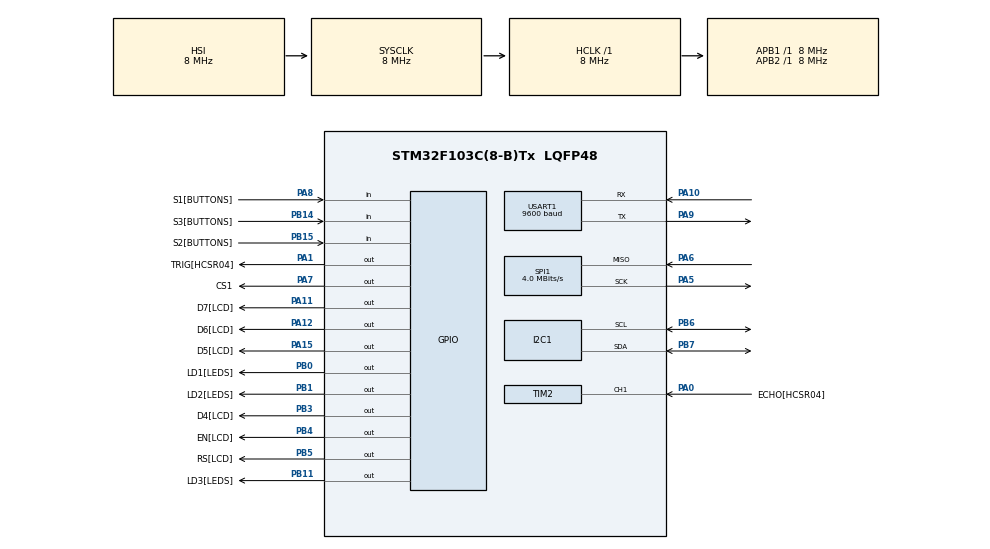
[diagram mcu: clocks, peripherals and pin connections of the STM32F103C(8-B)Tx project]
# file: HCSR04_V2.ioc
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I2C1.I2C_Mode=I2C_Standard
Mcu.Family=STM32F1
Mcu.Name=STM32F103C(8-B)Tx
Mcu.Package=LQFP48
NVIC.PriorityGroup=NVIC_PRIORITYGROUP_4
NVIC.TIM2_IRQn=true\:0\:0\:false\:false\:true\:true
PA0-WKUP.GPIO_Label=ECHO[HCSR04]
PA0-WKUP.Signal=S_TIM2_CH1_ETR
PA1.GPIO_Label=TRIG[HCSR04]
PA1.Signal=GPIO_Output
PA10.Mode=Asynchronous
PA10.Signal=USART1_RX
PA11.GPIO_Label=D7[LCD]
PA11.Signal=GPIO_Output
PA12.GPIO_Label=D6[LCD]
PA12.Signal=GPIO_Output
PA13.Mode=Serial_Wire
PA13.Signal=SYS_JTMS-SWDIO
PA14.Mode=Serial_Wire
PA14.Signal=SYS_JTCK-SWCLK
PA15.GPIO_Label=D5[LCD]
PA15.Signal=GPIO_Output
PA5.Mode=RX_Only_Simplex_Unidirect_Master
PA5.Signal=SPI1_SCK
PA6.Mode=RX_Only_Simplex_Unidirect_Master
PA6.Signal=SPI1_MISO
PA7.GPIO_Label=CS1
PA7.Signal=GPIO_Output
PA8.GPIO_Label=S1[BUTTONS]
PA8.Signal=GPIO_Input
PA9.Mode=Asynchronous
PA9.Signal=USART1_TX
PB0.GPIO_Label=LD1[LEDS]
PB0.Signal=GPIO_Output
PB1.GPIO_Label=LD2[LEDS]
PB1.Signal=GPIO_Output
PB11.GPIO_Label=LD3[LEDS]
PB11.Signal=GPIO_Output
PB14.GPIO_Label=S3[BUTTONS]
PB14.Signal=GPIO_Input
PB15.GPIO_Label=S2[BUTTONS]
PB15.Signal=GPIO_Input
PB3.GPIO_Label=D4[LCD]
PB3.Signal=GPIO_Output
PB4.GPIO_Label=EN[LCD]
PB4.Signal=GPIO_Output
PB5.GPIO_Label=RS[LCD]
PB5.Signal=GPIO_Output
PB6.Mode=I2C
PB6.Signal=I2C1_SCL
PB7.Mode=I2C
PB7.Signal=I2C1_SDA
ProjectManager.HeapSize=0x200
ProjectManager.StackSize=0x400
ProjectManager.TargetToolchain=TrueSTUDIO
RCC.AHBFreq_Value=8000000
RCC.APB1Freq_Value=8000000
RCC.APB1TimFreq_Value=8000000
RCC.APB2Freq_Value=8000000
RCC.APB2TimFreq_Value=8000000
RCC.HCLKFreq_Value=8000000
RCC.SYSCLKFreq_VALUE=8000000
RCC.USBFreq_Value=8000000
SH.S_TIM2_CH1_ETR.0=TIM2_CH1,Input_Capture1_from_TI1
SPI1.BaudRatePrescaler=SPI_BAUDRATEPRESCALER_2
SPI1.CLKPhase=SPI_PHASE_1EDGE
SPI1.CLKPolarity=SPI_POLARITY_LOW
SPI1.CalculateBaudRate=4.0 MBits/s
SPI1.DataSize=SPI_DATASIZE_8BIT
SPI1.Direction=SPI_DIRECTION_2LINES_RXONLY
SPI1.Mode=SPI_MODE_MASTER
SPI1.VirtualType=VM_MASTER
TIM2.Channel-Input_Capture1_from_TI1=TIM_CHANNEL_1
TIM2.ICFilter_CH1=15
TIM2.Period=50000
TIM2.Prescaler=7
USART1.BaudRate=9600
USART1.VirtualMode=VM_ASYNC
VP_TIM2_VS_ClockSourceINT.Mode=Internal
board=HCSR04_V2

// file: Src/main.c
/**
  ******************************************************************************
  * @file           : main.c
  * @brief          : Main program body
  ******************************************************************************
  ** This notice applies to any and all portions of this file
  * that are not between comment pairs USER CODE BEGIN and
  * USER CODE END. Other portions of this file, whether
  * inserted by the user or by software development tools
  * are owned by their respective copyright owners.
  *
  * COPYRIGHT(c) 2018 STMicroelectronics
  *
  * Redistribution and use in source and binary forms, with or without modification,
  * are permitted provided that the following conditions are met:
  *   1. Redistributions of source code must retain the above copyright notice,
  *      this list of conditions and the following disclaimer.
  *   2. Redistributions in binary form must reproduce the above copyright notice,
  *      this list of conditions and the following disclaimer in the documentation
  *      and/or other materials provided with the distribution.
  *   3. Neither the name of STMicroelectronics nor the names of its contributors
  *      may be used to endorse or promote products derived from this software
  *      without specific prior written permission.
  *
  * THIS SOFTWARE IS PROVIDED BY THE COPYRIGHT HOLDERS AND CONTRIBUTORS "AS IS"
  * AND ANY EXPRESS OR IMPLIED WARRANTIES, INCLUDING, BUT NOT LIMITED TO, THE
  * IMPLIED WARRANTIES OF MERCHANTABILITY AND FITNESS FOR A PARTICULAR PURPOSE ARE
  * DISCLAIMED. IN NO EVENT SHALL THE COPYRIGHT HOLDER OR CONTRIBUTORS BE LIABLE
  * FOR ANY DIRECT, INDIRECT, INCIDENTAL, SPECIAL, EXEMPLARY, OR CONSEQUENTIAL
  * DAMAGES (INCLUDING, BUT NOT LIMITED TO, PROCUREMENT OF SUBSTITUTE GOODS OR
  * SERVICES; LOSS OF USE, DATA, OR PROFITS; OR BUSINESS INTERRUPTION) HOWEVER
  * CAUSED AND ON ANY THEORY OF LIABILITY, WHETHER IN CONTRACT, STRICT LIABILITY,
  * OR TORT (INCLUDING NEGLIGENCE OR OTHERWISE) ARISING IN ANY WAY OUT OF THE USE
  * OF THIS SOFTWARE, EVEN IF ADVISED OF THE POSSIBILITY OF SUCH DAMAGE.
  *
  ******************************************************************************
  */
#include "main.h"
#include "stm32f1xx_hal.h"

/* USER CODE BEGIN Includes */

#include "dwt_stm32_delay.h"
#include <stdio.h>
#include <stdlib.h>

/* USER CODE END Includes */

I2C_HandleTypeDef hi2c1;

SPI_HandleTypeDef hspi1;

TIM_HandleTypeDef htim2;

UART_HandleTypeDef huart1;

/* USER CODE BEGIN PV */
/* Private variables ---------------------------------------------------------*/

uint16_t time=0,count=0,input_capture=0;

long counter=0,ic_value=0;
float dist=0.1;

char buffer[10];

/* USER CODE END PV */

void SystemClock_Config(void);
static void MX_GPIO_Init(void);
static void MX_I2C1_Init(void);
static void MX_SPI1_Init(void);
static void MX_USART1_UART_Init(void);
static void MX_TIM2_Init(void);

/* USER CODE BEGIN PFP */
/* Private function prototypes -----------------------------------------------*/

/* USER CODE END PFP */

/* USER CODE BEGIN 0 */

void write_lcd (uint8_t data, uint8_t cmd_data)
{
	// identifica comando ou dado
	if (cmd_data) HAL_GPIO_WritePin(RS_GPIO_Port, RS_Pin, GPIO_PIN_SET);
	else 					HAL_GPIO_WritePin(RS_GPIO_Port, RS_Pin, GPIO_PIN_RESET);

	// 4 bits high
	if (data & 0x80) HAL_GPIO_WritePin (D7_GPIO_Port, D7_Pin, GPIO_PIN_SET);
	else						 HAL_GPIO_WritePin (D7_GPIO_Port, D7_Pin, GPIO_PIN_RESET);
	if (data & 0x40) HAL_GPIO_WritePin (D6_GPIO_Port, D6_Pin, GPIO_PIN_SET);
	else						 HAL_GPIO_WritePin (D6_GPIO_Port, D6_Pin, GPIO_PIN_RESET);
	if (data & 0x20) HAL_GPIO_WritePin (D5_GPIO_Port, D5_Pin, GPIO_PIN_SET);
	else						 HAL_GPIO_WritePin (D5_GPIO_Port, D5_Pin, GPIO_PIN_RESET);
	if (data & 0x10) HAL_GPIO_WritePin (D4_GPIO_Port, D4_Pin, GPIO_PIN_SET);
	else						 HAL_GPIO_WritePin (D4_GPIO_Port, D4_Pin, GPIO_PIN_RESET);

	HAL_GPIO_WritePin(EN_GPIO_Port, EN_Pin, GPIO_PIN_SET);
	HAL_Delay(2);
	HAL_GPIO_WritePin(EN_GPIO_Port, EN_Pin, GPIO_PIN_RESET);

	// 4 bits Low
	if (data & 0x08) HAL_GPIO_WritePin (D7_GPIO_Port, D7_Pin, GPIO_PIN_SET);
	else						 HAL_GPIO_WritePin (D7_GPIO_Port, D7_Pin, GPIO_PIN_RESET);
	if (data & 0x04) HAL_GPIO_WritePin (D6_GPIO_Port, D6_Pin, GPIO_PIN_SET);
	else						 HAL_GPIO_WritePin (D6_GPIO_Port, D6_Pin, GPIO_PIN_RESET);
	if (data & 0x02) HAL_GPIO_WritePin (D5_GPIO_Port, D5_Pin, GPIO_PIN_SET);
	else						 HAL_GPIO_WritePin (D5_GPIO_Port, D5_Pin, GPIO_PIN_RESET);
	if (data & 0x01) HAL_GPIO_WritePin (D4_GPIO_Port, D4_Pin, GPIO_PIN_SET);
	else						 HAL_GPIO_WritePin (D4_GPIO_Port, D4_Pin, GPIO_PIN_RESET);

	HAL_GPIO_WritePin(EN_GPIO_Port, EN_Pin, GPIO_PIN_SET);
	HAL_Delay(2);
	HAL_GPIO_WritePin(EN_GPIO_Port, EN_Pin, GPIO_PIN_RESET);
}

/* init_LCD - Inicializa o display em 4bits */
void init_lcd(void)
{
	write_lcd(0x33, 0);
	write_lcd(0x32, 0);
	write_lcd(0x28, 0);
	write_lcd(0x06, 0);
	write_lcd(0x0C, 0);
	write_lcd(0x01, 0);
}

/* string_lcd - escreve string no LCD */
void string_lcd (char *string)
{
	while(*string) write_lcd(*string++, 1);
}

/* USER CODE END 0 */

int main(void)
{

  /* MCU Configuration----------------------------------------------------------*/

  /* Reset of all peripherals, Initializes the Flash interface and the Systick. */
  HAL_Init();

  /* Configure the system clock */
  SystemClock_Config();

  /* Initialize all configured peripherals */
  MX_GPIO_Init();
  MX_I2C1_Init();
  MX_SPI1_Init();
  MX_USART1_UART_Init();
  MX_TIM2_Init();
  /* USER CODE BEGIN 2 */

  init_lcd();
  write_lcd(0x01,0);
  write_lcd(0x81,0);
  string_lcd("Developed by :");
  write_lcd(0xC2,0);
  string_lcd("DSF DIVISION");
  HAL_Delay(2000);
  write_lcd(0x01,0);
  write_lcd(0x80,0);
  string_lcd("Distance:");
  write_lcd(0xC0,0);
  sprintf(buffer,"%2.1f",dist);
  string_lcd(buffer);
  HAL_TIM_IC_Start_IT(&htim2, TIM_CHANNEL_1);

  /* USER CODE END 2 */

  /* Infinite loop */
  while (1)
  {

  /* USER CODE BEGIN 3 */

	  HAL_GPIO_WritePin(TRIG_GPIO_Port,TRIG_Pin,GPIO_PIN_SET);
	  DWT_Delay_us(2);
	  HAL_GPIO_WritePin(TRIG_GPIO_Port,TRIG_Pin,GPIO_PIN_RESET);
	  DWT_Delay_us(11);
	  HAL_GPIO_WritePin(TRIG_GPIO_Port,TRIG_Pin,GPIO_PIN_SET);
	  counter=__HAL_TIM_GET_COUNTER(&htim2);
	  dist=counter*0.175/2;
	  write_lcd(0xC0,0);
	  sprintf(buffer,"%2.1f",dist);
	  string_lcd(buffer);
	  HAL_Delay(300);

  }
  /* USER CODE END 3 */

}

void SystemClock_Config(void)
{

  RCC_OscInitTypeDef RCC_OscInitStruct;
  RCC_ClkInitTypeDef RCC_ClkInitStruct;

    /**Initializes the CPU, AHB and APB busses clocks
    */
  RCC_OscInitStruct.OscillatorType = RCC_OSCILLATORTYPE_HSI;
  RCC_OscInitStruct.HSIState = RCC_HSI_ON;
  RCC_OscInitStruct.HSICalibrationValue = 16;
  RCC_OscInitStruct.PLL.PLLState = RCC_PLL_NONE;
  if (HAL_RCC_OscConfig(&RCC_OscInitStruct) != HAL_OK)
  {
    _Error_Handler(__FILE__, __LINE__);
  }

    /**Initializes the CPU, AHB and APB busses clocks
    */
  RCC_ClkInitStruct.ClockType = RCC_CLOCKTYPE_HCLK|RCC_CLOCKTYPE_SYSCLK
                              |RCC_CLOCKTYPE_PCLK1|RCC_CLOCKTYPE_PCLK2;
  RCC_ClkInitStruct.SYSCLKSource = RCC_SYSCLKSOURCE_HSI;
  RCC_ClkInitStruct.AHBCLKDivider = RCC_SYSCLK_DIV1;
  RCC_ClkInitStruct.APB1CLKDivider = RCC_HCLK_DIV1;
  RCC_ClkInitStruct.APB2CLKDivider = RCC_HCLK_DIV1;

  if (HAL_RCC_ClockConfig(&RCC_ClkInitStruct, FLASH_LATENCY_0) != HAL_OK)
  {
    _Error_Handler(__FILE__, __LINE__);
  }

    /**Configure the Systick interrupt time
    */
  HAL_SYSTICK_Config(HAL_RCC_GetHCLKFreq()/1000);

    /**Configure the Systick
    */
  HAL_SYSTICK_CLKSourceConfig(SYSTICK_CLKSOURCE_HCLK);

  /* SysTick_IRQn interrupt configuration */
  HAL_NVIC_SetPriority(SysTick_IRQn, 0, 0);
}

/* I2C1 init function */
static void MX_I2C1_Init(void)
{

  hi2c1.Instance = I2C1;
  hi2c1.Init.ClockSpeed = 100000;
  hi2c1.Init.DutyCycle = I2C_DUTYCYCLE_2;
  hi2c1.Init.OwnAddress1 = 0;
  hi2c1.Init.AddressingMode = I2C_ADDRESSINGMODE_7BIT;
  hi2c1.Init.DualAddressMode = I2C_DUALADDRESS_DISABLE;
  hi2c1.Init.OwnAddress2 = 0;
  hi2c1.Init.GeneralCallMode = I2C_GENERALCALL_DISABLE;
  hi2c1.Init.NoStretchMode = I2C_NOSTRETCH_DISABLE;
  if (HAL_I2C_Init(&hi2c1) != HAL_OK)
  {
    _Error_Handler(__FILE__, __LINE__);
  }

}

/* SPI1 init function */
static void MX_SPI1_Init(void)
{

  /* SPI1 parameter configuration*/
  hspi1.Instance = SPI1;
  hspi1.Init.Mode = SPI_MODE_MASTER;
  hspi1.Init.Direction = SPI_DIRECTION_2LINES_RXONLY;
  hspi1.Init.DataSize = SPI_DATASIZE_8BIT;
  hspi1.Init.CLKPolarity = SPI_POLARITY_LOW;
  hspi1.Init.CLKPhase = SPI_PHASE_1EDGE;
  hspi1.Init.NSS = SPI_NSS_SOFT;
  hspi1.Init.BaudRatePrescaler = SPI_BAUDRATEPRESCALER_2;
  hspi1.Init.FirstBit = SPI_FIRSTBIT_MSB;
  hspi1.Init.TIMode = SPI_TIMODE_DISABLE;
  hspi1.Init.CRCCalculation = SPI_CRCCALCULATION_DISABLE;
  hspi1.Init.CRCPolynomial = 10;
  if (HAL_SPI_Init(&hspi1) != HAL_OK)
  {
    _Error_Handler(__FILE__, __LINE__);
  }

}

/* TIM2 init function */
static void MX_TIM2_Init(void)
{

  TIM_ClockConfigTypeDef sClockSourceConfig;
  TIM_MasterConfigTypeDef sMasterConfig;
  TIM_IC_InitTypeDef sConfigIC;

  htim2.Instance = TIM2;
  htim2.Init.Prescaler = 7;
  htim2.Init.CounterMode = TIM_COUNTERMODE_UP;
  htim2.Init.Period = 50000;
  htim2.Init.ClockDivision = TIM_CLOCKDIVISION_DIV1;
  htim2.Init.AutoReloadPreload = TIM_AUTORELOAD_PRELOAD_DISABLE;
  if (HAL_TIM_Base_Init(&htim2) != HAL_OK)
  {
    _Error_Handler(__FILE__, __LINE__);
  }

  sClockSourceConfig.ClockSource = TIM_CLOCKSOURCE_INTERNAL;
  if (HAL_TIM_ConfigClockSource(&htim2, &sClockSourceConfig) != HAL_OK)
  {
    _Error_Handler(__FILE__, __LINE__);
  }

  if (HAL_TIM_IC_Init(&htim2) != HAL_OK)
  {
    _Error_Handler(__FILE__, __LINE__);
  }

  sMasterConfig.MasterOutputTrigger = TIM_TRGO_RESET;
  sMasterConfig.MasterSlaveMode = TIM_MASTERSLAVEMODE_DISABLE;
  if (HAL_TIMEx_MasterConfigSynchronization(&htim2, &sMasterConfig) != HAL_OK)
  {
    _Error_Handler(__FILE__, __LINE__);
  }

  sConfigIC.ICPolarity = TIM_INPUTCHANNELPOLARITY_RISING;
  sConfigIC.ICSelection = TIM_ICSELECTION_DIRECTTI;
  sConfigIC.ICPrescaler = TIM_ICPSC_DIV1;
  sConfigIC.ICFilter = 15;
  if (HAL_TIM_IC_ConfigChannel(&htim2, &sConfigIC, TIM_CHANNEL_1) != HAL_OK)
  {
    _Error_Handler(__FILE__, __LINE__);
  }

}

/* USART1 init function */
static void MX_USART1_UART_Init(void)
{

  huart1.Instance = USART1;
  huart1.Init.BaudRate = 9600;
  huart1.Init.WordLength = UART_WORDLENGTH_8B;
  huart1.Init.StopBits = UART_STOPBITS_1;
  huart1.Init.Parity = UART_PARITY_NONE;
  huart1.Init.Mode = UART_MODE_TX_RX;
  huart1.Init.HwFlowCtl = UART_HWCONTROL_NONE;
  huart1.Init.OverSampling = UART_OVERSAMPLING_16;
  if (HAL_UART_Init(&huart1) != HAL_OK)
  {
    _Error_Handler(__FILE__, __LINE__);
  }

}

/** Configure pins as
        * Analog
        * Input
        * Output
        * EVENT_OUT
        * EXTI
*/
static void MX_GPIO_Init(void)
{

  GPIO_InitTypeDef GPIO_InitStruct;

  /* GPIO Ports Clock Enable */
  __HAL_RCC_GPIOA_CLK_ENABLE();
  __HAL_RCC_GPIOB_CLK_ENABLE();

  /*Configure GPIO pin Output Level */
  HAL_GPIO_WritePin(GPIOA, TRIG_Pin|CS1_Pin|D7_Pin|D6_Pin
                          |D5_Pin, GPIO_PIN_RESET);

  /*Configure GPIO pin Output Level */
  HAL_GPIO_WritePin(GPIOB, LD1_Pin|LD2_Pin|LD3_Pin|D4_Pin
                          |EN_Pin|RS_Pin, GPIO_PIN_RESET);

  /*Configure GPIO pins : TRIG_Pin CS1_Pin D7_Pin D6_Pin
                           D5_Pin */
  GPIO_InitStruct.Pin = TRIG_Pin|CS1_Pin|D7_Pin|D6_Pin
                          |D5_Pin;
  GPIO_InitStruct.Mode = GPIO_MODE_OUTPUT_PP;
  GPIO_InitStruct.Speed = GPIO_SPEED_FREQ_LOW;
  HAL_GPIO_Init(GPIOA, &GPIO_InitStruct);

  /*Configure GPIO pins : LD1_Pin LD2_Pin LD3_Pin D4_Pin
                           EN_Pin RS_Pin */
  GPIO_InitStruct.Pin = LD1_Pin|LD2_Pin|LD3_Pin|D4_Pin
                          |EN_Pin|RS_Pin;
  GPIO_InitStruct.Mode = GPIO_MODE_OUTPUT_PP;
  GPIO_InitStruct.Speed = GPIO_SPEED_FREQ_LOW;
  HAL_GPIO_Init(GPIOB, &GPIO_InitStruct);

  /*Configure GPIO pins : S3_Pin S2_Pin */
  GPIO_InitStruct.Pin = S3_Pin|S2_Pin;
  GPIO_InitStruct.Mode = GPIO_MODE_INPUT;
  GPIO_InitStruct.Pull = GPIO_NOPULL;
  HAL_GPIO_Init(GPIOB, &GPIO_InitStruct);

  /*Configure GPIO pin : S1_Pin */
  GPIO_InitStruct.Pin = S1_Pin;
  GPIO_InitStruct.Mode = GPIO_MODE_INPUT;
  GPIO_InitStruct.Pull = GPIO_NOPULL;
  HAL_GPIO_Init(S1_GPIO_Port, &GPIO_InitStruct);

}

/* USER CODE BEGIN 4 */

void HAL_TIM_IC_CaptureCallback(TIM_HandleTypeDef *htim)
{
	if(htim->Instance==TIM2)
	{
		ic_value = __HAL_TIM_GET_COMPARE(&htim2,TIM_CHANNEL_1);
		__HAL_TIM_SET_COUNTER(&htim2,0);
	}

}

/* USER CODE END 4 */

void _Error_Handler(char *file, int line)
{
  while(1)
  {
  }
}

/************************ (C) COPYRIGHT STMicroelectronics *****END OF FILE****/
